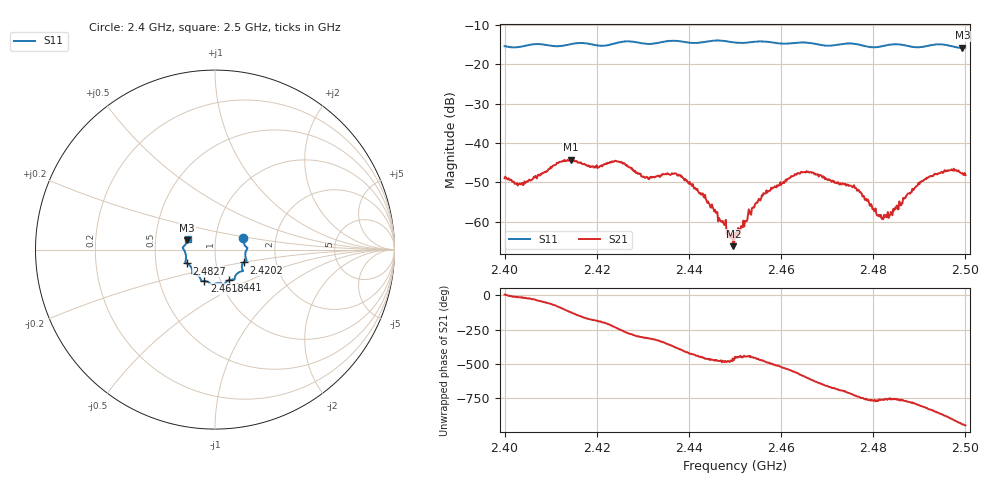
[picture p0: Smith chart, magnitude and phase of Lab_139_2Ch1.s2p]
# Hz S RI R 50
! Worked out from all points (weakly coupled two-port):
!   601 points, 2.4 GHz to 2.5 GHz, reference 50 ohm
!   highest |S21| = -44.23 dB at 2.4143 GHz (marker M1); lowest = -66.2 dB at 2.4497 GHz (marker M2)
!   lowest |S11| = -15.8 dB at 2.4993 GHz (marker M3), VSWR 1.39, Z = 36.5 + j3.82 ohm
!   |S11| at or under -10 dB: start of sweep to end of sweep
!   S12 and S22 are empty: the file has one direction only
!   S11 on the Smith chart (normalised r, x): 2.4 GHz: 1.36, +0.18; 2.4202 GHz: 1.36, -0.20; 2.441 GHz: 1.10, -0.39; 2.4618 GHz: 0.84, -0.30; 2.4827 GHz: 0.72, -0.11; 2.5 GHz: 0.73, +0.09
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2.4e9  0.1587 0.0626  0.00356 0.000394  0 0  0 0
2.404e9  0.1689 0.0202  0.00277 -0.000925  0 0  0 0
2.414333e9  0.1732 -0.0517  -0.00325 -0.00522  0 0  0 0
2.416667e9  0.1771 -0.0609  -0.00506 -0.00236  0 0  0 0
2.420167e9  0.1589 -0.0714  -0.0048 0.000548  0 0  0 0
2.424333e9  0.1523 -0.1093  -0.00309 0.00497  0 0  0 0
2.430167e9  0.1351 -0.1255  0.00237 0.00292  0 0  0 0
2.433333e9  0.1116 -0.1508  0.00331 0.002  0 0  0 0
2.437167e9  0.1073 -0.1681  0.00386 -0.00143  0 0  0 0
2.441e9  0.0788 -0.1698  0.000879 -0.00264  0 0  0 0
2.449667e9  0.0321 -0.188  -0.000207 -0.000444  0 0  0 0
2.45e9  0.0288 -0.1874  2.97e-05 -0.000724  0 0  0 0
2.456333e9  -0.0173 -0.1949  -0.00114 -0.00198  0 0  0 0
2.461833e9  -0.0591 -0.1753  -0.00361 0.000212  0 0  0 0
2.466667e9  -0.0786 -0.1684  -0.000913 0.0041  0 0  0 0
2.475833e9  -0.1279 -0.1313  0.00289 -0.000404  0 0  0 0
2.481333e9  -0.1449 -0.0838  0.000952 -0.000768  0 0  0 0
2.482667e9  -0.1559 -0.0771  0.001 -0.000676  0 0  0 0
2.483333e9  -0.1603 -0.0749  0.000933 -0.000618  0 0  0 0
2.491833e9  -0.172 -0.00321  -0.00109 -0.00345  0 0  0 0
2.499333e9  -0.1543 0.051  -0.00311 0.00275  0 0  0 0
2.5e9  -0.1524 0.0605  -0.00255 0.00298  0 0  0 0
